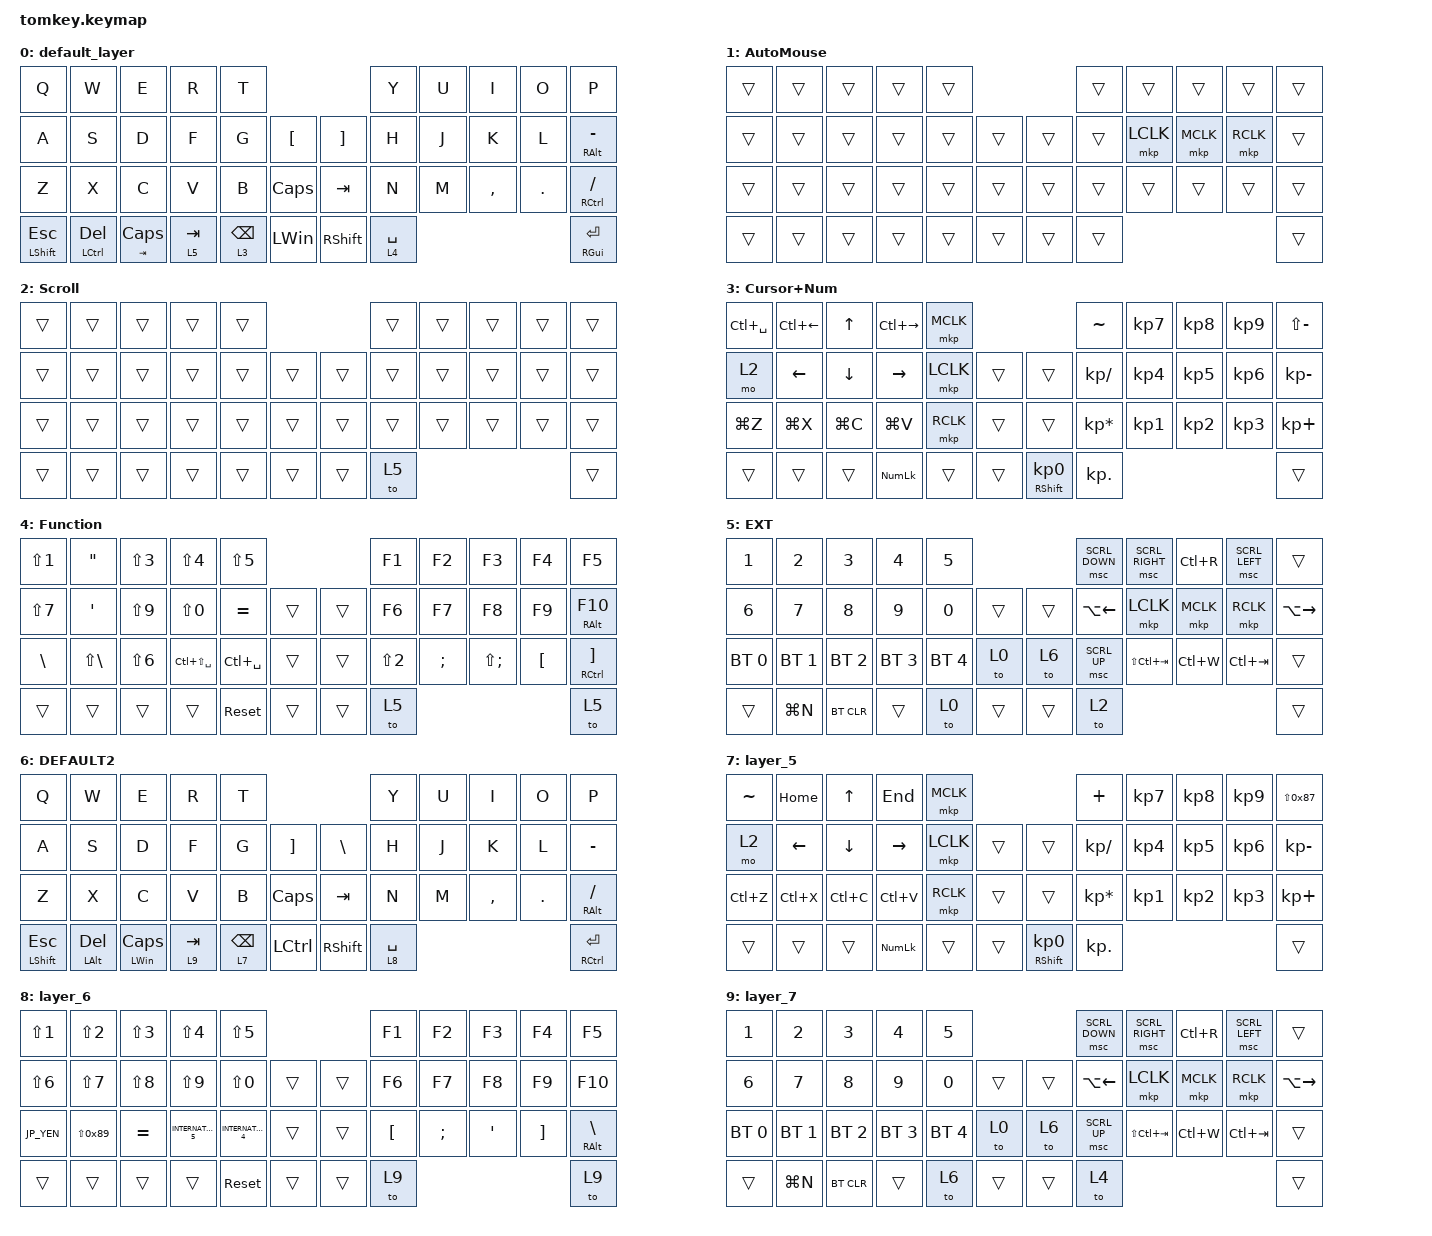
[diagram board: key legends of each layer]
#include <input/processors.dtsi>
#include <behaviors.dtsi>
#include <dt-bindings/zmk/bt.h>
#include <dt-bindings/zmk/keys.h>
#include <dt-bindings/zmk/pointing.h>

// OS設定を日本語キーボードのまま使用するための変換定義

#define JP_DQUOTE       AT                // "
#define JP_AMPERSAND    CARET             // &
#define JP_QUOTE        AMPERSAND         // '
#define JP_EQUAL        UNDER             // =
#define JP_CARET        EQUAL             // ^
#define JP_YEN          0x89              // ¥
#define JP_PLUS         COLON             // +
#define JP_TILDE        PLUS              // ~
#define JP_PIPE         LS(0x89)          // |
#define JP_AT           LEFT_BRACKET      // @
#define JP_COLON        SINGLE_QUOTE      // :
#define JP_ASTERISK     DOUBLE_QUOTES     // *
#define JP_BACKQUOTE    LEFT_BRACE        // `
#define JP_UNDERSCORE   LS(0x87)          // _
#define JP_LBRACKET     RIGHT_BRACKET     // [
#define JP_RBRACKET     BACKSLASH         // ]
#define JP_LPAREN       ASTERISK          // (
#define JP_RPAREN       LEFT_PARENTHESIS  // )
#define JP_LBRACE       RIGHT_BRACE       // {
#define JP_RBRACE       PIPE              // }
#define JP_KANA         LANGUAGE_1        // かな
#define JP_EISU         LANGUAGE_2        // 英数
#define JP_HANZEN       GRAVE             // 半角/全角

/ {
    keymap {
        compatible = "zmk,keymap";

        default_layer {
            bindings = <
&kp Q              &kp W             &kp E             &kp R      &kp T                                                     &kp Y        &kp U  &kp I      &kp O    &kp P
&kp A              &kp S             &kp D             &kp F      &kp G            &kp LEFT_BRACKET      &kp RIGHT_BRACKET  &kp H        &kp J  &kp K      &kp L    &mt RIGHT_ALT MINUS
&kp Z              &kp X             &kp C             &kp V      &kp B            &kp CAPS              &kp TAB            &kp N        &kp M  &kp COMMA  &kp DOT  &mt RCTRL SLASH
&mt LSHIFT ESCAPE  &mt LCTRL DELETE  &mt TAB CAPSLOCK  &lt 5 TAB  &lt 3 BACKSPACE  &kp LEFT_WIN          &kp RSHIFT         &lt 4 SPACE                             &mt RGUI ENTER
            >;
        };

        AutoMouse {
            bindings = <
&trans  &trans  &trans  &trans  &trans                      &trans  &trans     &trans     &trans     &trans
&trans  &trans  &trans  &trans  &trans  &trans      &trans  &trans  &mkp LCLK  &mkp MCLK  &mkp RCLK  &trans
&trans  &trans  &trans  &trans  &trans  &trans      &trans  &trans  &trans     &trans     &trans     &trans
&trans  &trans  &trans  &trans  &trans  &trans      &trans  &trans                                   &trans
            >;
        };

        Scroll {
            bindings = <
&trans  &trans  &trans  &trans  &trans                      &trans  &trans  &trans  &trans  &trans
&trans  &trans  &trans  &trans  &trans  &trans      &trans  &trans  &trans  &trans  &trans  &trans
&trans  &trans  &trans  &trans  &trans  &trans      &trans  &trans  &trans  &trans  &trans  &trans
&trans  &trans  &trans  &trans  &trans  &trans      &trans  &to 5                           &trans
            >;
        };

        Cursor+Num {
            bindings = <
&kp LC(SPACE)  &kp LC(LEFT_ARROW)  &kp UP_ARROW    &kp LC(RIGHT)    &mkp MCLK                                     &kp TILDE        &kp KP_NUMBER_7  &kp KP_NUMBER_8  &kp KP_NUMBER_9  &kp LS(MINUS)
&mo 2          &kp LEFT            &kp DOWN_ARROW  &kp RIGHT_ARROW  &mkp LCLK  &trans      &trans                 &kp KP_SLASH     &kp KP_NUMBER_4  &kp KP_NUMBER_5  &kp KP_NUMBER_6  &kp KP_MINUS
&kp LG(Z)      &kp LG(X)           &kp LG(C)       &kp LG(V)        &mkp RCLK  &trans      &trans                 &kp KP_ASTERISK  &kp KP_NUMBER_1  &kp KP_NUMBER_2  &kp KP_NUMBER_3  &kp KP_PLUS
&trans         &trans              &trans          &kp KP_NUM       &trans     &trans      &mt RIGHT_SHIFT KP_N0  &kp KP_DOT                                                          &trans
            >;
        };

        Function {
            bindings = <
&kp LS(NUMBER_1)  &kp DOUBLE_QUOTES  &kp LS(NUMBER_3)  &kp LS(NUMBER_4)   &kp LS(N5)                         &kp F1            &kp F2    &kp F3        &kp F4            &kp F5
&kp LS(N7)        &kp SINGLE_QUOTE   &kp LS(N9)        &kp LS(N0)         &kp EQUAL      &trans      &trans  &kp F6            &kp F7    &kp F8        &kp F9            &mt RALT F10
&kp BACKSLASH     &kp LS(BACKSLASH)  &kp LS(NUMBER_6)  &kp LC(LS(SPACE))  &kp LC(SPACE)  &trans      &trans  &kp LS(NUMBER_2)  &kp SEMI  &kp LS(SEMI)  &kp LEFT_BRACKET  &mt RCTRL RIGHT_BRACKET
&trans            &trans             &trans            &trans             &sys_reset     &trans      &trans  &to 5                                                       &to 5
            >;
        };

        EXT {
            bindings = <
&kp NUMBER_1  &kp NUMBER_2  &kp NUMBER_3  &kp NUMBER_4  &kp N5                            &msc SCRL_DOWN      &msc SCRL_RIGHT  &kp LC(R)  &msc SCRL_LEFT  &trans
&kp NUMBER_6  &kp N7        &kp N8        &kp N9        &kp N0        &trans      &trans  &kp LA(LEFT_ARROW)  &mkp LCLK        &mkp MCLK  &mkp RCLK       &kp LA(RIGHT)
&bt BT_SEL 0  &bt BT_SEL 1  &bt BT_SEL 2  &bt BT_SEL 3  &bt BT_SEL 4  &to 0       &to 6   &msc SCRL_UP        &kp LS(LC(TAB))  &kp LC(W)  &kp LC(TAB)     &trans
&trans        &kp LG(N)     &bt BT_CLR    &trans        &to 0         &trans      &trans  &to 2                                                           &trans
            >;
        };

        DEFAULT2 {
            bindings = <
&kp Q              &kp W                &kp E                  &kp R      &kp T                                                  &kp Y        &kp U  &kp I      &kp O    &kp P
&kp A              &kp S                &kp D                  &kp F      &kp G            &kp RIGHT_BRACKET      &kp BACKSLASH  &kp H        &kp J  &kp K      &kp L    &kp MINUS
&kp Z              &kp X                &kp C                  &kp V      &kp B            &kp CAPS               &kp TAB        &kp N        &kp M  &kp COMMA  &kp DOT  &mt RIGHT_ALT SLASH
&mt LSHIFT ESCAPE  &mt LEFT_ALT DELETE  &mt LEFT_WIN CAPSLOCK  &lt 9 TAB  &lt 7 BACKSPACE  &kp LCTRL              &kp RSHIFT     &lt 8 SPACE                             &mt RCTRL ENTER
            >;
        };

        layer_5 {
            bindings = <
&kp TILDE  &kp HOME   &kp UP_ARROW    &kp END          &mkp MCLK                                     &kp JP_TILDE     &kp KP_NUMBER_7  &kp KP_NUMBER_8  &kp KP_NUMBER_9  &kp JP_UNDERSCORE
&mo 2      &kp LEFT   &kp DOWN_ARROW  &kp RIGHT_ARROW  &mkp LCLK  &trans      &trans                 &kp KP_SLASH     &kp KP_NUMBER_4  &kp KP_NUMBER_5  &kp KP_NUMBER_6  &kp KP_MINUS
&kp LC(Z)  &kp LC(X)  &kp LC(C)       &kp LC(V)        &mkp RCLK  &trans      &trans                 &kp KP_ASTERISK  &kp KP_NUMBER_1  &kp KP_NUMBER_2  &kp KP_NUMBER_3  &kp KP_PLUS
&trans     &trans     &trans          &kp KP_NUM       &trans     &trans      &mt RIGHT_SHIFT KP_N0  &kp KP_DOT                                                          &trans
            >;
        };

        layer_6 {
            bindings = <
&kp LS(NUMBER_1)  &kp LS(NUMBER_2)  &kp LS(NUMBER_3)  &kp LS(NUMBER_4)     &kp LS(N5)                               &kp F1            &kp F2    &kp F3            &kp F4             &kp F5
&kp LS(NUMBER_6)  &kp LS(N7)        &kp LS(N8)        &kp LS(N9)           &kp LS(N0)           &trans      &trans  &kp F6            &kp F7    &kp F8            &kp F9             &kp F10
&kp JP_YEN        &kp JP_PIPE       &kp JP_CARET      &kp INTERNATIONAL_5  &kp INTERNATIONAL_4  &trans      &trans  &kp LEFT_BRACKET  &kp SEMI  &kp SINGLE_QUOTE  &kp RIGHT_BRACKET  &mt RIGHT_ALT BACKSLASH
&trans            &trans            &trans            &trans               &sys_reset           &trans      &trans  &to 9                                                            &to 9
            >;
        };

        layer_7 {
            bindings = <
&kp NUMBER_1  &kp NUMBER_2  &kp NUMBER_3  &kp NUMBER_4  &kp N5                            &msc SCRL_DOWN      &msc SCRL_RIGHT  &kp LC(R)  &msc SCRL_LEFT  &trans
&kp NUMBER_6  &kp N7        &kp N8        &kp N9        &kp N0        &trans      &trans  &kp LA(LEFT_ARROW)  &mkp LCLK        &mkp MCLK  &mkp RCLK       &kp LA(RIGHT)
&bt BT_SEL 0  &bt BT_SEL 1  &bt BT_SEL 2  &bt BT_SEL 3  &bt BT_SEL 4  &to 0       &to 6   &msc SCRL_UP        &kp LS(LC(TAB))  &kp LC(W)  &kp LC(TAB)     &trans
&trans        &kp LG(N)     &bt BT_CLR    &trans        &to 6         &trans      &trans  &to 4                                                           &trans
            >;
        };
    };
};
